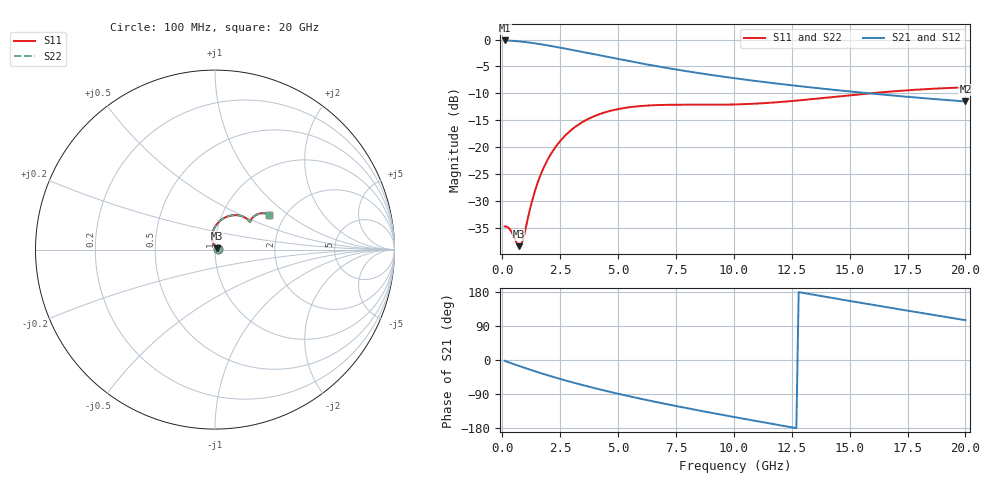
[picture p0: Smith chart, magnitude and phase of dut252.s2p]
! Touchstone file exported from HFSS 2024.1.0
!  File:  C:/UserFiles/LocalFiles/RDL_TSV_Batchsim/temp_RDL_TSV_252_1779456935.aedt
!  Generated:  09:50:15 PM May 22, 2026
!  Design:  RDL_TSV
!  Project:  temp_RDL_TSV_252_1779456935
!  Setup:  Setup1
!  Solution:  Sweep
! Variables:
!  dtsv = 12.11um
!  hbump = 3um
!  htsv = 92.87um
!  ldown = 500.64um
!  lrdl = 488.8um
!  p = 40
!  p1 = 43.64um
!  rhole = 10um
!  subl = 3457.12um
!  t = 450um
!  tdown = 4.04um
!  trdl = 4.99um
!  viad = 10um
!  wdown = 15.22um
!  wrdl = 14.67um
!  xbump = 18um
# GHz S MA R 50.000000
! Terminal data exported
! Port[1] = TM1_1_T1
! Port[2] = TM1_4_T1
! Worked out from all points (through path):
!   200 points, 100 MHz to 20 GHz, reference 50 ohm
!   highest |S21| = -0.17 dB at 100 MHz (marker M1); lowest = -11.5 dB at 20 GHz (marker M2)
!   group delay of S21, straight-line fit = 33.4 ps
!   lowest |S11| = -38.4 dB at 700 MHz (marker M3), VSWR 1.02, Z = 50.9 + j0.809 ohm
!   |S11| at or under -10 dB: start of sweep to 15.88 GHz
!   |S22| runs from -38.4 to -8.9 dB; largest |S21 - S12| = 1.1e-14
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0.1  0.0183 3.6  0.9811 -2.2  0.9811 -2.2  0.0183 3.6
! Gamma 0 0 0 0
! Port Impedance 50 0 50 0
0.3  0.0175 8.6  0.9773 -6.7  0.9773 -6.7  0.0175 8.6
0.7  0.01198 41.5  0.963 -15.3  0.963 -15.3  0.01197 41.6
0.8  0.0121 59.9  0.9583 -17.4  0.9583 -17.4  0.0121 60.0
0.9  0.01387 77.3  0.9533 -19.4  0.9533 -19.4  0.01388 77.4
1.2  0.02668 102.5  0.936 -25.6  0.936 -25.6  0.02673 102.6
1.4  0.03845 106.2  0.923 -29.6  0.923 -29.6  0.03852 106.2
1.6  0.05147 106.0  0.9091 -33.5  0.9091 -33.5  0.05156 106.1
1.9  0.07216 102.9  0.8872 -39.2  0.8872 -39.2  0.07229 103.0
2.2  0.09322 98.4  0.8643 -44.7  0.8643 -44.7  0.09338 98.4
2.6  0.1204 91.7  0.8333 -51.8  0.8333 -51.8  0.1206 91.7
3.5  0.1728 77.1  0.7643 -66.7  0.7643 -66.7  0.1731 77.1
4.2  0.2026 67.4  0.7134 -77.5  0.7134 -77.5  0.203 67.4
5.1  0.2277 57.3  0.6535 -90.5  0.6535 -90.5  0.2281 57.3
5.9  0.2401 50.4  0.606 -101.3  0.606 -101.3  0.2406 50.4
6.8  0.2463 44.7  0.5591 -112.8  0.5591 -112.8  0.2468 44.7
8.4  0.2477 39.4  0.4908 -132.1  0.4908 -132.1  0.2483 39.3
10.1  0.2494 38.5  0.4349 -151.5  0.4349 -151.5  0.25 38.4
11.7  0.2595 39.6  0.3933 -169.1  0.3933 -169.1  0.2601 39.5
13.4  0.2797 40.5  0.3575 172.7  0.3575 172.7  0.2802 40.4
16.7  0.3275 38.2  0.304 138.4  0.304 138.4  0.3278 38.0
20  0.3593 32.8  0.2657 105.1  0.2657 105.1  0.3594 32.7
